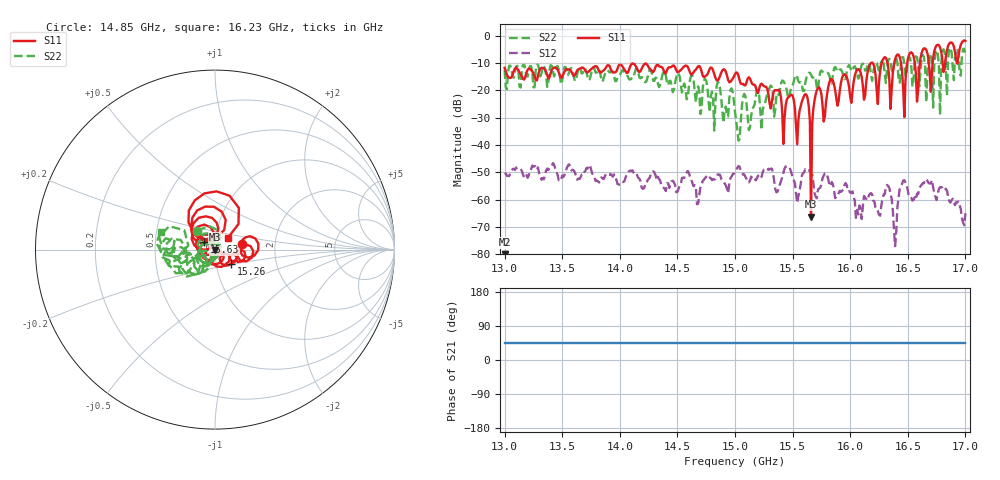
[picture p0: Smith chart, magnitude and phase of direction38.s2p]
!Keysight Technologies,P9374A,MY57211810,A.19.30.04
!Date: Friday, May 02, 2025 09:03:39
!Correction: S11(Off)
!S21(Off)
!S12(Off)
!S22(Off)
!S2P File: Measurements: S11, S21, S12, S22:
# Hz S  dB  R 50
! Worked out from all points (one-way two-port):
!   401 points, 13 GHz to 17 GHz, reference 50 ohm
!   highest |S21| = - dB at 13 GHz (marker M1); lowest = - dB at 13 GHz (marker M2)
!   lowest |S11| = -66.3 dB at 15.66 GHz (marker M3), VSWR 1.00, Z = 50 + j0.0427 ohm
!   |S11| at or under -10 dB: start of sweep to 16.18 GHz; 16.19607 GHz to 16.27416 GHz (78.09 MHz wide, 0.481 % of centre); 16.32359 GHz to 16.38259 GHz (59 MHz wide, 0.361 % of centre) (the widest 3 of 8)
!   |S22| runs from -38.4 to -4.3 dB; largest |S21 - S12| = 0.0047
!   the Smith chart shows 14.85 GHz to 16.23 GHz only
!   S11 on the Smith chart (normalised r, x): 14.85 GHz: 1.35, +0.09; 15.26 GHz: 1.18, -0.19; 15.63 GHz: 0.88, +0.07; 16.23 GHz: 1.15, +0.16
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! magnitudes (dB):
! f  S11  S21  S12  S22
! 13 GHz  -11.7  -  -50.2  -12.6
! 13.67 GHz  -11.6  -  -50.8  -13.8
! 14.34 GHz  -11.1  -  -52.5  -18.8
! 14.85 GHz  -16.4  -  -50.8  -16.9
! 15 GHz  -14.0  -  -50.0  -27.8
! 15.03 GHz  -14.6  -  -47.6  -38.4
! 15.26 GHz  -18.6  -  -49.0  -24.9
! 15.55 GHz  -31.0  -  -58.8  -16.7
! 15.63 GHz  -22.8  -  -49.1  -14.2
! 15.66 GHz  -66.3  -  -50.5  -14.2
! 15.67 GHz  -32.3  -  -50.8  -15.2
! 15.72 GHz  -19.1  -  -56.4  -19.8
! 16.23 GHz  -20.1  -  -63.3  -9.9
! 16.3 GHz  -7.8  -  -58.0  -14.0
! 16.34 GHz  -16.3  -  -55.8  -8.4
! 16.39 GHz  -8.5  -  -77.0  -8.5
! 16.47 GHz  -29.8  -  -52.9  -10.2
! 16.52 GHz  -6.2  -  -59.2  -8.1
! 16.58 GHz  -24.1  -  -57.8  -7.8
! 16.64 GHz  -4.6  -  -54.0  -7.7
! 16.7 GHz  -20.5  -  -54.0  -7.0
! 17 GHz  -1.9  -  -65.0  -6.8
